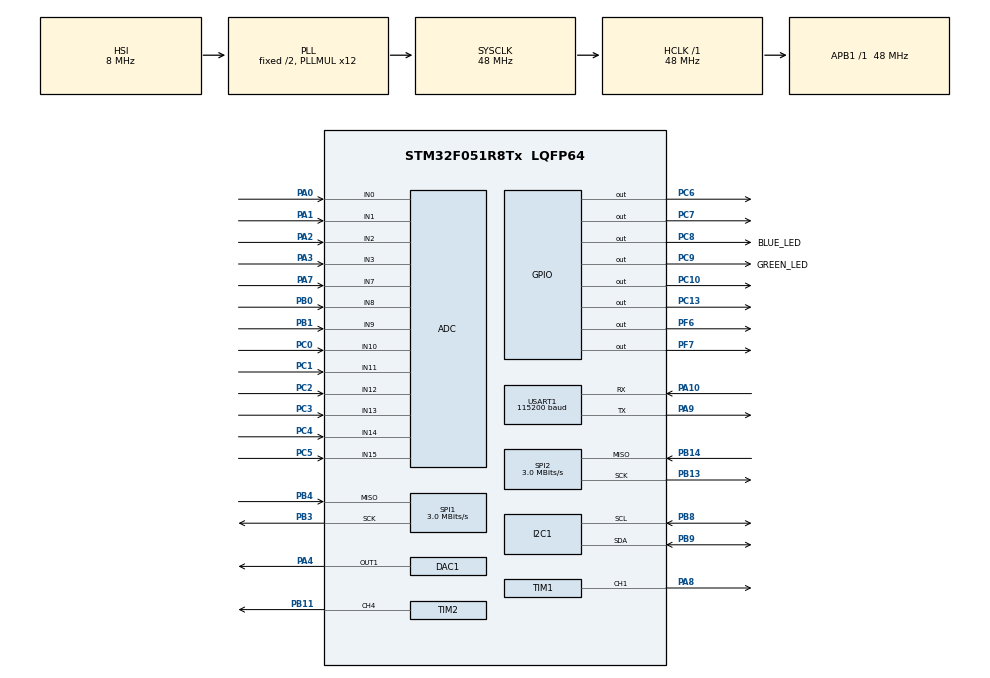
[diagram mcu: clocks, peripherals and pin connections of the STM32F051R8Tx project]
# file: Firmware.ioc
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DAC1.DAC_OutputBuffer=DAC_OUTPUTBUFFER_ENABLE
Dma.ADC.0.Direction=DMA_PERIPH_TO_MEMORY
Dma.ADC.0.Instance=DMA1_Channel1
Dma.ADC.0.MemDataAlignment=DMA_MDATAALIGN_HALFWORD
Dma.ADC.0.MemInc=DMA_MINC_ENABLE
Dma.ADC.0.Mode=DMA_NORMAL
Dma.ADC.0.PeriphDataAlignment=DMA_PDATAALIGN_HALFWORD
Dma.ADC.0.PeriphInc=DMA_PINC_DISABLE
Dma.ADC.0.Priority=DMA_PRIORITY_LOW
Dma.Request0=ADC
Mcu.Family=STM32F0
Mcu.Name=STM32F051R8Tx
Mcu.Package=LQFP64
NVIC.DMA1_Channel1_IRQn=true\:0\:0\:false\:false\:true\:false\:true\:true
NVIC.TIM1_BRK_UP_TRG_COM_IRQn=true\:1\:0\:true\:false\:true\:true\:true\:true
NVIC.TIM1_CC_IRQn=true\:1\:0\:true\:false\:true\:true\:true\:true
NVIC.TIM2_IRQn=true\:1\:0\:true\:false\:true\:true\:true\:true
NVIC.USART1_IRQn=true\:0\:0\:true\:false\:true\:true\:true\:true
PA0.Mode=IN0
PA0.Signal=ADC_IN0
PA1.Mode=IN1
PA1.Signal=ADC_IN1
PA10.Mode=Asynchronous
PA10.Signal=USART1_RX
PA13.Mode=Serial_Wire
PA13.Signal=SYS_SWDIO
PA14.Mode=Serial_Wire
PA14.Signal=SYS_SWCLK
PA2.Mode=IN2
PA2.Signal=ADC_IN2
PA3.Mode=IN3
PA3.Signal=ADC_IN3
PA4.Signal=COMP_DAC11_group
PA7.Mode=IN7
PA7.Signal=ADC_IN7
PA8.Signal=S_TIM1_CH1
PA9.Mode=Asynchronous
PA9.Signal=USART1_TX
PB0.Mode=IN8
PB0.Signal=ADC_IN8
PB1.Mode=IN9
PB1.Signal=ADC_IN9
PB11.Signal=S_TIM2_CH4
PB13.Mode=RX_Only_Simplex_Unidirect_Master
PB13.Signal=SPI2_SCK
PB14.Mode=RX_Only_Simplex_Unidirect_Master
PB14.Signal=SPI2_MISO
PB3.Mode=RX_Only_Simplex_Unidirect_Master
PB3.Signal=SPI1_SCK
PB4.Mode=RX_Only_Simplex_Unidirect_Master
PB4.Signal=SPI1_MISO
PB8.Mode=I2C
PB8.Signal=I2C1_SCL
PB9.Mode=I2C
PB9.Signal=I2C1_SDA
PC0.Mode=IN10
PC0.Signal=ADC_IN10
PC1.Mode=IN11
PC1.Signal=ADC_IN11
PC10.Signal=GPIO_Output
PC13.Signal=GPIO_Output
PC14-OSC32_IN.Mode=LSE-External-Oscillator
PC14-OSC32_IN.Signal=RCC_OSC32_IN
PC15-OSC32_OUT.Mode=LSE-External-Oscillator
PC15-OSC32_OUT.Signal=RCC_OSC32_OUT
PC2.Mode=IN12
PC2.Signal=ADC_IN12
PC3.Mode=IN13
PC3.Signal=ADC_IN13
PC4.Mode=IN14
PC4.Signal=ADC_IN14
PC5.Mode=IN15
PC5.Signal=ADC_IN15
PC6.Signal=GPIO_Output
PC7.Signal=GPIO_Output
PC8.GPIO_Label=BLUE_LED
PC8.Signal=GPIO_Output
PC9.GPIO_Label=GREEN_LED
PC9.Signal=GPIO_Output
PF0-OSC_IN.Mode=HSE-External-Oscillator
PF0-OSC_IN.Signal=RCC_OSC_IN
PF1-OSC_OUT.Mode=HSE-External-Oscillator
PF1-OSC_OUT.Signal=RCC_OSC_OUT
PF6.Signal=GPIO_Output
PF7.Signal=GPIO_Output
ProjectManager.HeapSize=0x200
ProjectManager.StackSize=0x400
ProjectManager.TargetToolchain=STM32CubeIDE
RCC.AHBFreq_Value=48000000
RCC.APB1Freq_Value=48000000
RCC.APB1TimFreq_Value=48000000
RCC.HCLKFreq_Value=48000000
RCC.PLLMUL=RCC_PLL_MUL12
RCC.SYSCLKFreq_VALUE=48000000
RCC.SYSCLKSource=RCC_SYSCLKSOURCE_PLLCLK
RCC.Usart1ClockSelection=RCC_USART1CLKSOURCE_HSI
SH.COMP_DAC11_group.0=DAC1_OUT1,DAC_OUT1
SH.S_TIM1_CH1.0=TIM1_CH1,Output Compare1 CH1
SH.S_TIM2_CH4.0=TIM2_CH4,Output Compare4 CH4
SPI1.BaudRatePrescaler=SPI_BAUDRATEPRESCALER_16
SPI1.CalculateBaudRate=3.0 MBits/s
SPI1.DataSize=SPI_DATASIZE_16BIT
SPI1.Direction=SPI_DIRECTION_2LINES_RXONLY
SPI1.Mode=SPI_MODE_MASTER
SPI1.VirtualType=VM_MASTER
SPI2.BaudRatePrescaler=SPI_BAUDRATEPRESCALER_16
SPI2.CalculateBaudRate=3.0 MBits/s
SPI2.DataSize=SPI_DATASIZE_16BIT
SPI2.Direction=SPI_DIRECTION_2LINES_RXONLY
SPI2.Mode=SPI_MODE_MASTER
SPI2.VirtualType=VM_MASTER
TIM1.AutoReloadPreload=TIM_AUTORELOAD_PRELOAD_ENABLE
TIM1.Channel-Output\ Compare1\ CH1=TIM_CHANNEL_1
TIM1.OCMode_1=TIM_OCMODE_TOGGLE
TIM1.Period=24000
TIM1.Prescaler=100 - 1
TIM1.Pulse-Output\ Compare1\ CH1=12000 - 1
TIM2.AutoReloadPreload=TIM_AUTORELOAD_PRELOAD_ENABLE
TIM2.Channel-Output\ Compare4\ CH4=TIM_CHANNEL_4
TIM2.OCMode_4=TIM_OCMODE_TOGGLE
TIM2.Period=30000 - 1
TIM2.Prescaler=100 - 1
TIM2.Pulse-Output\ Compare4\ CH4=6000 - 1
USART1.BaudRate=115200
USART1.VirtualMode-Asynchronous=VM_ASYNC
VP_TIM1_VS_ClockSourceINT.Mode=Internal
VP_TIM2_VS_ClockSourceINT.Mode=Internal
board=custom

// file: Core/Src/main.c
/* USER CODE BEGIN Header */
/**
  ******************************************************************************
  * @file           : main.c
  * @brief          : Main program body
  ******************************************************************************
  * @attention
  *
  * Copyright (c) 2022 STMicroelectronics.
  * All rights reserved.
  *
  * This software is licensed under terms that can be found in the LICENSE file
  * in the root directory of this software component.
  * If no LICENSE file comes with this software, it is provided AS-IS.
  *
  ******************************************************************************
  */
/* USER CODE END Header */
#include "main.h"

/* USER CODE BEGIN Includes */
#include "stdio.h"

/* USER CODE END Includes */

ADC_HandleTypeDef hadc;
DMA_HandleTypeDef hdma_adc;

DAC_HandleTypeDef hdac1;

I2C_HandleTypeDef hi2c1;

SPI_HandleTypeDef hspi1;
SPI_HandleTypeDef hspi2;

TIM_HandleTypeDef htim1;
TIM_HandleTypeDef htim2;

UART_HandleTypeDef huart1;

/* USER CODE BEGIN PV */
UART_WakeUpTypeDef WakeUpSelection;
uint8_t Rx_data[1];  //  creating a buffer of 1 bytes

static const uint8_t ADT7410_1 = 0x48 << 1; // Use 8-bit address
static const uint8_t ADT7410_2 = 0x49 << 1;
static const uint8_t REG_TEMP = 0x00;
/* USER CODE END PV */

void SystemClock_Config(void);
static void MX_GPIO_Init(void);
static void MX_DMA_Init(void);
static void MX_SPI2_Init(void);
static void MX_TIM1_Init(void);
static void MX_TIM2_Init(void);
static void MX_SPI1_Init(void);
static void MX_USART1_UART_Init(void);
static void MX_DAC1_Init(void);
static void MX_ADC_Init(void);
static void MX_I2C1_Init(void);

/* USER CODE BEGIN 0 */

/* TS_CAL1 & TS_CAL2 */
//#define TS_CAL1 *((uint16_t*) 0x1FFFF7B8)
//#define TS_CAL2 *((uint16_t*) 0x1FFFF7C2)

/* ADC DMA */
volatile uint16_t adcResultsDMA[16];
const int adcChannelCount = sizeof(adcResultsDMA) / sizeof(adcResultsDMA[0]);

/* DAC Variables */
uint32_t DAC_OUT[] = {0, 683, 1365, 2048, 2730, 3413};
uint8_t step;
int up = 1;

/* SPI Variables */
int raw;
const int WRITE = 0x1;

/* Erpa Data Struct */
typedef struct ErpaData {
	uint8_t sync;
	int spiData;
	uint32_t swpComm;
	uint32_t swpMon;
	uint16_t endMon;
	uint16_t tmp1;
	uint16_t tmp2;
} erpaData;

/* UART Variables */
uint8_t *erpa_buf;
const uint8_t erpa_sync = 0xAA;
uint16_t erpa_seq = 0;
uint8_t pmt_buf[6];
const uint8_t pmt_sync = 0xBB;
uint16_t pmt_seq = 0;
uint8_t hk_buf[26];
const uint8_t hk_sync = 0xCC;
uint16_t hk_seq = 0;
int hk_counter = 0;

int startupTimer = 0;

uint8_t *fillErpaBuffer(erpaData data) {

	uint8_t *erpa_ret = malloc(16 * sizeof(uint8_t));

	erpa_ret[0] = data.sync; // ERPA SYNC 0xAA MSB
	erpa_ret[1] = data.sync; // ERPA SYNC 0xAA LSB
	erpa_ret[2] = ((erpa_seq & 0xFF00) >> 8); // ERPA SEQ # MSB
	erpa_ret[3] = (erpa_seq & 0xFF); // ERPA SEQ # MSB
	erpa_ret[4] = ((data.spiData & 0xFF00) >> 8); // ERPA eADC MSB
	erpa_ret[5] = (data.spiData & 0xFF); // ERPA eADC LSB
	erpa_ret[6] = ((data.swpComm & 0xFF00) >> 8); //SWP Commanded MSB
	erpa_ret[7] = (data.swpComm & 0xFF); //SWP Commanded LSB
	erpa_ret[8] = ((data.swpMon & 0xFF00) >> 8); // SWP Monitored MSB
	erpa_ret[9] = (data.swpMon & 0xFF); // SWP Monitored LSB
	erpa_ret[10] = ((data.tmp1 & 0xFF00) >> 8); // TEMPURATURE 1 MSB
	erpa_ret[11] = (data.tmp1 & 0xFF); // TEMPURATURE 1 LSB
	erpa_ret[12] = ((data.tmp2 & 0xFF00) >> 8); // TEMPURATURE 2 MSB
	erpa_ret[13] = (data.tmp2 & 0xFF); // TEMPURATURE 2 LSB
	erpa_ret[14] = ((data.endMon & 0xFF00) >> 8); // ENDmon MSB
	erpa_ret[15] = (data.endMon & 0xFF); // ENDmon LSB

	erpa_seq++;

	return erpa_ret;
}

void HAL_TIM_OC_DelayElapsedCallback(TIM_HandleTypeDef *htim) {
	if (htim == &htim1) {
        if (!(HAL_GPIO_ReadPin(GPIOA, GPIO_PIN_8))) { //check pin state

            /**
             * TIM1_CH1 Interrupt
             * Sets CNV and samples ERPA's ADC
             * Steps DAC
             * +/- 0.5v Every 100ms
             */

            /* Write to SPI (begin transfer?) */
            HAL_SPI_Transmit(&hspi1, (uint8_t * ) & WRITE, 1, 1);

            while (!(SPI1->SR));

            raw = SPI1->DR;

            DAC->DHR12R1 = DAC_OUT[step];

            HAL_ADC_Start_DMA(&hadc, (uint32_t *) adcResultsDMA, adcChannelCount);
            uint16_t PA0 = adcResultsDMA[0]; //ADC_IN0, END_mon: entrance/collimator monitor
            uint16_t PA7 = adcResultsDMA[4]; //ADC_IN7, SWP_mon: Sweep voltage monitor
            uint16_t PB0 = adcResultsDMA[5]; //ADC_IN8, TMP 1: Sweep temperature
            uint16_t PB1 = adcResultsDMA[6]; //ADC_IN9, TMP 2: feedbacks

//            erpaData data;
//            data.sync = 0xAA;
//            data.spiData = raw;
//            data.swpComm = DAC->DHR12R1;
//            data.swpMon = PA7;
//            data.endMon = PA0;
//            data.tmp1 = PB0;
//            data.tmp2 = PB1;
//
//            erpa_buf = fillErpaBuffer(data);

            HAL_UART_Transmit(&huart1, erpa_buf, sizeof(erpa_buf), 100);

            if (step == 5) {
                up = 0;
            } else if (step == 0) {
                up = 1;
            }

            up == 1 ? step++ : step--;

            if (hk_counter == 50) {
                HAL_ADC_Start_DMA(&hadc, (uint32_t *) adcResultsDMA, adcChannelCount);

                uint16_t PA1 = adcResultsDMA[1]; //ADC_IN1, BUS_Vmon: instrument bus voltage monitor
                uint16_t PA2 = adcResultsDMA[2]; //ADC_IN2, BUS_Imon: instrument bus current monitor
                uint16_t PA3 = adcResultsDMA[3]; //ADC_IN3, 5vref_mon: Accurate 5V for ADC monitor
                uint16_t PC0 = adcResultsDMA[7]; //ADC_IN10, 2v5_mon: power monitor
                uint16_t PC1 = adcResultsDMA[8]; //ADC_IN11, 3v3_mon: power monitor
                uint16_t PC2 = adcResultsDMA[9]; //ADC_IN12, 5v_mon: power monitor
                uint16_t PC3 = adcResultsDMA[10]; //ADC_IN13, n3v3_mon: power monitor
                uint16_t PC4 = adcResultsDMA[11]; //ADC_IN14, n5v_mon: power monitor
                uint16_t PC5 = adcResultsDMA[12]; //ADC_IN15, 15v_mon: power monitor
                uint16_t MCU_TEMP = adcResultsDMA[13]; //(internally connected) ADC_IN16, VSENSE
                uint16_t MCU_VREF = adcResultsDMA[14]; //(internally connected) ADC_IN17, VREFINT

                hk_buf[0] = hk_sync; // HK SYNC 0xCC MSB
                hk_buf[1] = hk_sync; // HK SYNC 0xCC LSB
                hk_buf[2] = ((hk_seq & 0xFF00) >> 8); // HK SEQ # MSB
                hk_buf[3] = (hk_seq & 0xFF); // HK SEQ # LSB
                hk_buf[4] = ((PA1 & 0xFF00) >> 8); // BUS_Vmon MSB
                hk_buf[5] = (PA1 & 0xFF); // BUS_Vmon LSB
                hk_buf[6] = ((PA2 & 0xFF00) >> 8); // BUS_Imon MSB
                hk_buf[7] = (PA2 & 0xFF); // BUS_Imon LSB
                hk_buf[8] = ((PC0 & 0xFF00) >> 8); // 2.5v_mon MSB
                hk_buf[9] = (PC0 & 0xFF); // 2.5v_mon LSB
                hk_buf[10] = ((PC1 & 0xFF00) >> 8); // 3v3_mon MSB
                hk_buf[11] = (PC1 & 0xFF); // 3v3_mon LSB
                hk_buf[12] = ((PC2 & 0xFF00) >> 8); // 5v_mon MSB
                hk_buf[13] = (PC2 & 0xFF); // 5v_mon LSB
                hk_buf[14] = ((PA3 & 0xFF00) >> 8); // 5vref_mon MSB
                hk_buf[15] = (PA3 & 0xFF); // 5vref_mon LSB
                hk_buf[16] = ((PC5 & 0xFF00) >> 8); // 15v_mon MSB
                hk_buf[17] = (PC5 & 0xFF); // 15v_mon LSB
                hk_buf[18] = ((PC3 & 0xFF00) >> 8); // n3v3_mon MSB
                hk_buf[19] = (PC3 & 0xFF); // n3v3_mon LSB
                hk_buf[20] = ((PC4 & 0xFF00) >> 8); // n5v_mon MSB
                hk_buf[21] = (PC4 & 0xFF); // n5v_mon LSB
                hk_buf[22] = ((MCU_TEMP & 0xFF00) >> 8); // VSENSE MSB
                hk_buf[23] = (MCU_TEMP & 0xFF); // VSENSE LSB
                hk_buf[24] = ((MCU_VREF & 0xFF00) >> 8); // VREFINT MSB
                hk_buf[25] = (MCU_VREF & 0xFF); // VREFINT LSB

                HAL_UART_Transmit(&huart1, hk_buf, sizeof(hk_buf), 100);

                hk_counter = 1;

                hk_seq++;

            } else {
                hk_counter++;
            }

        }
    } else if (htim == &htim2) {
        if (!(HAL_GPIO_ReadPin(GPIOB, GPIO_PIN_11))) { //check pin state

            /**
             * TIM2_CH4 Interrupt
             * Sets CNV and samples UVPMT's ADC
             * Every 125ms
             */

            /* Write to SPI (begin transfer?) */
            HAL_SPI_Transmit(&hspi2, (uint8_t * ) & WRITE, 1, 1);

            while (!(SPI2->SR));

            raw = SPI2->DR;

            pmt_buf[0] = pmt_sync;
            pmt_buf[1] = pmt_sync;
            pmt_buf[2] = ((pmt_seq & 0xFF00) >> 8);
            pmt_buf[3] = (pmt_seq & 0xFF);;
            pmt_buf[4] = ((raw & 0xFF00) >> 8);
            pmt_buf[5] = (raw & 0xFF);

            pmt_seq++;

            HAL_UART_Transmit(&huart1, pmt_buf, sizeof(pmt_buf), 100);

        }
    }

    /* Timer 3 also called but doesn't need to do anything on IT */
}

void HAL_UART_RxCpltCallback(UART_HandleTypeDef *huart)
{
	char sleepChar = Rx_data;
	if (Rx_data[0] == 's') { // should be "¶" in the future
		HAL_SuspendTick();
		HAL_PWR_EnterSTOPMode(PWR_LOWPOWERREGULATOR_ON, PWR_STOPENTRY_WFI);
		NVIC_SystemReset();
	}
	HAL_UART_Receive_IT(&huart1, Rx_data, 1);
}

/* USER CODE END 0 */

int main(void)
{

  /* MCU Configuration--------------------------------------------------------*/

  /* Reset of all peripherals, Initializes the Flash interface and the Systick. */
  HAL_Init();

  /* USER CODE BEGIN Init */
  HAL_StatusTypeDef ret;
  uint8_t buf[2];
  int16_t val;
  float temp_c;

  /* USER CODE END Init */

  /* Configure the system clock */
  SystemClock_Config();

  /* Initialize all configured peripherals */
  MX_GPIO_Init();
  MX_DMA_Init();
  MX_SPI2_Init();
  MX_TIM1_Init();
  MX_TIM2_Init();
  MX_SPI1_Init();
  MX_USART1_UART_Init();
  MX_DAC1_Init();
  MX_ADC_Init();
  MX_I2C1_Init();
  /* USER CODE BEGIN 2 */

    HAL_DAC_Start(&hdac1, DAC_CHANNEL_1);

    /* Start Timers with OC & Interrupt */
    HAL_TIM_OC_Start_IT(&htim1, TIM_CHANNEL_1);
    HAL_TIM_OC_Start_IT(&htim2, TIM_CHANNEL_4);

    while (__HAL_UART_GET_FLAG(&huart1, USART_ISR_BUSY) == SET);
    while (__HAL_UART_GET_FLAG(&huart1, USART_ISR_REACK) == RESET);

    WakeUpSelection.WakeUpEvent = UART_WAKEUP_ON_ADDRESS;
    WakeUpSelection.AddressLength = UART_ADDRESS_DETECT_7B;
    WakeUpSelection.Address = 0x23; // send "£"

    if (HAL_UARTEx_StopModeWakeUpSourceConfig(&huart1, WakeUpSelection) != HAL_OK) {
        Error_Handler();
    }
    /* Enable the LPUART Wake UP from stop mode Interrupt */
    __HAL_UART_ENABLE_IT(&huart1, UART_IT_WUF);
    /* enable MCU wake-up by LPUART */
    HAL_UARTEx_EnableStopMode(&huart1);
    HAL_UART_Receive_IT(&huart1, Rx_data, 1);
  /* USER CODE END 2 */

  /* Infinite loop */
  /* USER CODE BEGIN WHILE */
    while (1) {

    	/*
    	// Tell ADT7410_1 that we want to read from the temperature register
		buf[0] = REG_TEMP;
		ret = HAL_I2C_Master_Transmit(&hi2c1, ADT7410_1, buf, 1, 1000);
		//I2C_HandleTypeDef *hi2c, uint16_t DevAddress, uint8_t *pData, uint16_t Size, uint32_t Timeout)
		if ( ret != HAL_OK ) {
		  strcpy((char*)buf, "Error Tx\r\n");
		} else {

		  // Read 2 bytes from the temperature register
		  ret = HAL_I2C_Master_Receive(&hi2c1, ADT7410_1, buf, 2, 1000);
		  if ( ret != HAL_OK ) {
			strcpy((char*)buf, "Error Rx\r\n");
		  } else {

			val = (int16_t)(buf[0] << 8);
			val = (val | buf[1]) >> 3;

			// Convert to 2's complement, since temperature can be negative
			if ( val > 0x7FF ) {
			  val |= 0xF000;
			}

			// Convert to float temperature value (Celsius)
			temp_c = val * 0.0625;

			// Convert temperature to decimal value
			temp_c *= 100;

			sprintf((char*)buf,
						  "ADT7410_1: %u.%u C\r\n",
						  ((unsigned int)temp_c / 100),
						  ((unsigned int)temp_c % 100));
		  }
	   }

		HAL_UART_Transmit(&huart1, buf, strlen((char*)buf), HAL_MAX_DELAY);

		// Tell ADT7410_2 that we want to read from the temperature register
		buf[0] = REG_TEMP;
		ret = HAL_I2C_Master_Transmit(&hi2c1, ADT7410_2, buf, 1, 1000);
		//I2C_HandleTypeDef *hi2c, uint16_t DevAddress, uint8_t *pData, uint16_t Size, uint32_t Timeout)
		if ( ret != HAL_OK ) {
		  strcpy((char*)buf, "Error Tx\r\n");
		} else {

		  // Read 2 bytes from the temperature register
		  ret = HAL_I2C_Master_Receive(&hi2c1, ADT7410_2, buf, 2, 1000);
		  if ( ret != HAL_OK ) {
			strcpy((char*)buf, "Error Rx\r\n");
		  } else {

			val = (int16_t)(buf[0] << 8);
			val = (val | buf[1]) >> 3;

			// Convert to 2's complement, since temperature can be negative
			if ( val > 0x7FF ) {
			  val |= 0xF000;
			}

			// Convert to float temperature value (Celsius)
			temp_c = val * 0.0625;

			// Convert temperature to decimal value
			temp_c *= 100;

			sprintf((char*)buf,
						  "ADT7410 2: %u.%u C\r\n",
						  ((unsigned int)temp_c / 100),
						  ((unsigned int)temp_c % 100));
		  }
	   }

	HAL_UART_Transmit(&huart1, buf, strlen((char*)buf), HAL_MAX_DELAY);
	*/

    /* USER CODE END WHILE */

    }
}

void SystemClock_Config(void)
{
  RCC_OscInitTypeDef RCC_OscInitStruct = {0};
  RCC_ClkInitTypeDef RCC_ClkInitStruct = {0};
  RCC_PeriphCLKInitTypeDef PeriphClkInit = {0};

  /** Initializes the RCC Oscillators according to the specified parameters
  * in the RCC_OscInitTypeDef structure.
  */
  RCC_OscInitStruct.OscillatorType = RCC_OSCILLATORTYPE_HSI|RCC_OSCILLATORTYPE_HSI14;
  RCC_OscInitStruct.HSIState = RCC_HSI_ON;
  RCC_OscInitStruct.HSI14State = RCC_HSI14_ON;
  RCC_OscInitStruct.HSICalibrationValue = RCC_HSICALIBRATION_DEFAULT;
  RCC_OscInitStruct.HSI14CalibrationValue = 16;
  RCC_OscInitStruct.PLL.PLLState = RCC_PLL_ON;
  RCC_OscInitStruct.PLL.PLLSource = RCC_PLLSOURCE_HSI;
  RCC_OscInitStruct.PLL.PLLMUL = RCC_PLL_MUL12;
  RCC_OscInitStruct.PLL.PREDIV = RCC_PREDIV_DIV1;
  if (HAL_RCC_OscConfig(&RCC_OscInitStruct) != HAL_OK)
  {
    Error_Handler();
  }

  /** Initializes the CPU, AHB and APB buses clocks
  */
  RCC_ClkInitStruct.ClockType = RCC_CLOCKTYPE_HCLK|RCC_CLOCKTYPE_SYSCLK
                              |RCC_CLOCKTYPE_PCLK1;
  RCC_ClkInitStruct.SYSCLKSource = RCC_SYSCLKSOURCE_PLLCLK;
  RCC_ClkInitStruct.AHBCLKDivider = RCC_SYSCLK_DIV1;
  RCC_ClkInitStruct.APB1CLKDivider = RCC_HCLK_DIV1;

  if (HAL_RCC_ClockConfig(&RCC_ClkInitStruct, FLASH_LATENCY_1) != HAL_OK)
  {
    Error_Handler();
  }
  PeriphClkInit.PeriphClockSelection = RCC_PERIPHCLK_USART1|RCC_PERIPHCLK_I2C1;
  PeriphClkInit.Usart1ClockSelection = RCC_USART1CLKSOURCE_HSI;
  PeriphClkInit.I2c1ClockSelection = RCC_I2C1CLKSOURCE_HSI;
  if (HAL_RCCEx_PeriphCLKConfig(&PeriphClkInit) != HAL_OK)
  {
    Error_Handler();
  }
}

static void MX_ADC_Init(void)
{

  ADC_ChannelConfTypeDef sConfig = {0};

  /** Configure the global features of the ADC (Clock, Resolution, Data Alignment and number of conversion)
  */
  hadc.Instance = ADC1;
  hadc.Init.ClockPrescaler = ADC_CLOCK_ASYNC_DIV1;
  hadc.Init.Resolution = ADC_RESOLUTION_12B;
  hadc.Init.DataAlign = ADC_DATAALIGN_RIGHT;
  hadc.Init.ScanConvMode = ADC_SCAN_DIRECTION_FORWARD;
  hadc.Init.EOCSelection = ADC_EOC_SINGLE_CONV;
  hadc.Init.LowPowerAutoWait = DISABLE;
  hadc.Init.LowPowerAutoPowerOff = DISABLE;
  hadc.Init.ContinuousConvMode = DISABLE;
  hadc.Init.DiscontinuousConvMode = DISABLE;
  hadc.Init.ExternalTrigConv = ADC_SOFTWARE_START;
  hadc.Init.ExternalTrigConvEdge = ADC_EXTERNALTRIGCONVEDGE_NONE;
  hadc.Init.DMAContinuousRequests = DISABLE;
  hadc.Init.Overrun = ADC_OVR_DATA_PRESERVED;
  if (HAL_ADC_Init(&hadc) != HAL_OK)
  {
    Error_Handler();
  }

  /** Configure for the selected ADC regular channel to be converted.
  */
  sConfig.Channel = ADC_CHANNEL_0;
  sConfig.Rank = ADC_RANK_CHANNEL_NUMBER;
  sConfig.SamplingTime = ADC_SAMPLETIME_1CYCLE_5;
  if (HAL_ADC_ConfigChannel(&hadc, &sConfig) != HAL_OK)
  {
    Error_Handler();
  }

  /** Configure for the selected ADC regular channel to be converted.
  */
  sConfig.Channel = ADC_CHANNEL_1;
  if (HAL_ADC_ConfigChannel(&hadc, &sConfig) != HAL_OK)
  {
    Error_Handler();
  }

  /** Configure for the selected ADC regular channel to be converted.
  */
  sConfig.Channel = ADC_CHANNEL_2;
  if (HAL_ADC_ConfigChannel(&hadc, &sConfig) != HAL_OK)
  {
    Error_Handler();
  }

  /** Configure for the selected ADC regular channel to be converted.
  */
  sConfig.Channel = ADC_CHANNEL_3;
  if (HAL_ADC_ConfigChannel(&hadc, &sConfig) != HAL_OK)
  {
    Error_Handler();
  }

  /** Configure for the selected ADC regular channel to be converted.
  */
  sConfig.Channel = ADC_CHANNEL_7;
  if (HAL_ADC_ConfigChannel(&hadc, &sConfig) != HAL_OK)
  {
    Error_Handler();
  }

  /** Configure for the selected ADC regular channel to be converted.
  */
  sConfig.Channel = ADC_CHANNEL_8;
  if (HAL_ADC_ConfigChannel(&hadc, &sConfig) != HAL_OK)
  {
    Error_Handler();
  }

  /** Configure for the selected ADC regular channel to be converted.
  */
  sConfig.Channel = ADC_CHANNEL_9;
  if (HAL_ADC_ConfigChannel(&hadc, &sConfig) != HAL_OK)
  {
    Error_Handler();
  }

  /** Configure for the selected ADC regular channel to be converted.
  */
  sConfig.Channel = ADC_CHANNEL_10;
  if (HAL_ADC_ConfigChannel(&hadc, &sConfig) != HAL_OK)
  {
    Error_Handler();
  }

  /** Configure for the selected ADC regular channel to be converted.
  */
  sConfig.Channel = ADC_CHANNEL_11;
  if (HAL_ADC_ConfigChannel(&hadc, &sConfig) != HAL_OK)
  {
    Error_Handler();
  }

  /** Configure for the selected ADC regular channel to be converted.
  */
  sConfig.Channel = ADC_CHANNEL_12;
  if (HAL_ADC_ConfigChannel(&hadc, &sConfig) != HAL_OK)
  {
    Error_Handler();
  }

  /** Configure for the selected ADC regular channel to be converted.
  */
  sConfig.Channel = ADC_CHANNEL_13;
  if (HAL_ADC_ConfigChannel(&hadc, &sConfig) != HAL_OK)
  {
    Error_Handler();
  }

  /** Configure for the selected ADC regular channel to be converted.
  */
  sConfig.Channel = ADC_CHANNEL_14;
  if (HAL_ADC_ConfigChannel(&hadc, &sConfig) != HAL_OK)
  {
    Error_Handler();
  }

  /** Configure for the selected ADC regular channel to be converted.
  */
  sConfig.Channel = ADC_CHANNEL_15;
  if (HAL_ADC_ConfigChannel(&hadc, &sConfig) != HAL_OK)
  {
    Error_Handler();
  }

}

static void MX_DAC1_Init(void)
{

  /* USER CODE BEGIN DAC1_Init 0 */
    step = 0;
  /* USER CODE END DAC1_Init 0 */

  DAC_ChannelConfTypeDef sConfig = {0};

  /** DAC Initialization
  */
  hdac1.Instance = DAC;
  if (HAL_DAC_Init(&hdac1) != HAL_OK)
  {
    Error_Handler();
  }

  /** DAC channel OUT1 config
  */
  sConfig.DAC_Trigger = DAC_TRIGGER_NONE;
  sConfig.DAC_OutputBuffer = DAC_OUTPUTBUFFER_ENABLE;
  if (HAL_DAC_ConfigChannel(&hdac1, &sConfig, DAC_CHANNEL_1) != HAL_OK)
  {
    Error_Handler();
  }

}

static void MX_I2C1_Init(void)
{

  hi2c1.Instance = I2C1;
  hi2c1.Init.Timing = 0x2000090E;
  hi2c1.Init.OwnAddress1 = 0;
  hi2c1.Init.AddressingMode = I2C_ADDRESSINGMODE_7BIT;
  hi2c1.Init.DualAddressMode = I2C_DUALADDRESS_DISABLE;
  hi2c1.Init.OwnAddress2 = 0;
  hi2c1.Init.OwnAddress2Masks = I2C_OA2_NOMASK;
  hi2c1.Init.GeneralCallMode = I2C_GENERALCALL_DISABLE;
  hi2c1.Init.NoStretchMode = I2C_NOSTRETCH_DISABLE;
  if (HAL_I2C_Init(&hi2c1) != HAL_OK)
  {
    Error_Handler();
  }

  /** Configure Analogue filter
  */
  if (HAL_I2CEx_ConfigAnalogFilter(&hi2c1, I2C_ANALOGFILTER_ENABLE) != HAL_OK)
  {
    Error_Handler();
  }

  /** Configure Digital filter
  */
  if (HAL_I2CEx_ConfigDigitalFilter(&hi2c1, 0) != HAL_OK)
  {
    Error_Handler();
  }

}

static void MX_SPI1_Init(void)
{

  /* SPI1 parameter configuration*/
  hspi1.Instance = SPI1;
  hspi1.Init.Mode = SPI_MODE_MASTER;
  hspi1.Init.Direction = SPI_DIRECTION_2LINES_RXONLY;
  hspi1.Init.DataSize = SPI_DATASIZE_16BIT;
  hspi1.Init.CLKPolarity = SPI_POLARITY_LOW;
  hspi1.Init.CLKPhase = SPI_PHASE_1EDGE;
  hspi1.Init.NSS = SPI_NSS_SOFT;
  hspi1.Init.BaudRatePrescaler = SPI_BAUDRATEPRESCALER_16;
  hspi1.Init.FirstBit = SPI_FIRSTBIT_MSB;
  hspi1.Init.TIMode = SPI_TIMODE_DISABLE;
  hspi1.Init.CRCCalculation = SPI_CRCCALCULATION_DISABLE;
  hspi1.Init.CRCPolynomial = 7;
  hspi1.Init.CRCLength = SPI_CRC_LENGTH_DATASIZE;
  hspi1.Init.NSSPMode = SPI_NSS_PULSE_ENABLE;
  if (HAL_SPI_Init(&hspi1) != HAL_OK)
  {
    Error_Handler();
  }

}

static void MX_SPI2_Init(void)
{

  /* SPI2 parameter configuration*/
  hspi2.Instance = SPI2;
  hspi2.Init.Mode = SPI_MODE_MASTER;
  hspi2.Init.Direction = SPI_DIRECTION_2LINES_RXONLY;
  hspi2.Init.DataSize = SPI_DATASIZE_16BIT;
  hspi2.Init.CLKPolarity = SPI_POLARITY_LOW;
  hspi2.Init.CLKPhase = SPI_PHASE_1EDGE;
  hspi2.Init.NSS = SPI_NSS_SOFT;
  hspi2.Init.BaudRatePrescaler = SPI_BAUDRATEPRESCALER_16;
  hspi2.Init.FirstBit = SPI_FIRSTBIT_MSB;
  hspi2.Init.TIMode = SPI_TIMODE_DISABLE;
  hspi2.Init.CRCCalculation = SPI_CRCCALCULATION_DISABLE;
  hspi2.Init.CRCPolynomial = 7;
  hspi2.Init.CRCLength = SPI_CRC_LENGTH_DATASIZE;
  hspi2.Init.NSSPMode = SPI_NSS_PULSE_ENABLE;
  if (HAL_SPI_Init(&hspi2) != HAL_OK)
  {
    Error_Handler();
  }

}

static void MX_TIM1_Init(void)
{

  TIM_ClockConfigTypeDef sClockSourceConfig = {0};
  TIM_MasterConfigTypeDef sMasterConfig = {0};
  TIM_OC_InitTypeDef sConfigOC = {0};
  TIM_BreakDeadTimeConfigTypeDef sBreakDeadTimeConfig = {0};

  htim1.Instance = TIM1;
  htim1.Init.Prescaler = 100 - 1;
  htim1.Init.CounterMode = TIM_COUNTERMODE_UP;
  htim1.Init.Period = 24000;
  htim1.Init.ClockDivision = TIM_CLOCKDIVISION_DIV1;
  htim1.Init.RepetitionCounter = 0;
  htim1.Init.AutoReloadPreload = TIM_AUTORELOAD_PRELOAD_ENABLE;
  if (HAL_TIM_Base_Init(&htim1) != HAL_OK)
  {
    Error_Handler();
  }
  sClockSourceConfig.ClockSource = TIM_CLOCKSOURCE_INTERNAL;
  if (HAL_TIM_ConfigClockSource(&htim1, &sClockSourceConfig) != HAL_OK)
  {
    Error_Handler();
  }
  if (HAL_TIM_OC_Init(&htim1) != HAL_OK)
  {
    Error_Handler();
  }
  sMasterConfig.MasterOutputTrigger = TIM_TRGO_RESET;
  sMasterConfig.MasterSlaveMode = TIM_MASTERSLAVEMODE_DISABLE;
  if (HAL_TIMEx_MasterConfigSynchronization(&htim1, &sMasterConfig) != HAL_OK)
  {
    Error_Handler();
  }
  sConfigOC.OCMode = TIM_OCMODE_TOGGLE;
  sConfigOC.Pulse = 12000 - 1;
  sConfigOC.OCPolarity = TIM_OCPOLARITY_HIGH;
  sConfigOC.OCNPolarity = TIM_OCNPOLARITY_HIGH;
  sConfigOC.OCFastMode = TIM_OCFAST_DISABLE;
  sConfigOC.OCIdleState = TIM_OCIDLESTATE_RESET;
  sConfigOC.OCNIdleState = TIM_OCNIDLESTATE_RESET;
  if (HAL_TIM_OC_ConfigChannel(&htim1, &sConfigOC, TIM_CHANNEL_1) != HAL_OK)
  {
    Error_Handler();
  }
  sBreakDeadTimeConfig.OffStateRunMode = TIM_OSSR_DISABLE;
  sBreakDeadTimeConfig.OffStateIDLEMode = TIM_OSSI_DISABLE;
  sBreakDeadTimeConfig.LockLevel = TIM_LOCKLEVEL_OFF;
  sBreakDeadTimeConfig.DeadTime = 0;
  sBreakDeadTimeConfig.BreakState = TIM_BREAK_DISABLE;
  sBreakDeadTimeConfig.BreakPolarity = TIM_BREAKPOLARITY_HIGH;
  sBreakDeadTimeConfig.AutomaticOutput = TIM_AUTOMATICOUTPUT_DISABLE;
  if (HAL_TIMEx_ConfigBreakDeadTime(&htim1, &sBreakDeadTimeConfig) != HAL_OK)
  {
    Error_Handler();
  }
  HAL_TIM_MspPostInit(&htim1);

}

static void MX_TIM2_Init(void)
{

  TIM_ClockConfigTypeDef sClockSourceConfig = {0};
  TIM_MasterConfigTypeDef sMasterConfig = {0};
  TIM_OC_InitTypeDef sConfigOC = {0};

  htim2.Instance = TIM2;
  htim2.Init.Prescaler = 100 - 1;
  htim2.Init.CounterMode = TIM_COUNTERMODE_UP;
  htim2.Init.Period = 30000 - 1;
  htim2.Init.ClockDivision = TIM_CLOCKDIVISION_DIV1;
  htim2.Init.AutoReloadPreload = TIM_AUTORELOAD_PRELOAD_ENABLE;
  if (HAL_TIM_Base_Init(&htim2) != HAL_OK)
  {
    Error_Handler();
  }
  sClockSourceConfig.ClockSource = TIM_CLOCKSOURCE_INTERNAL;
  if (HAL_TIM_ConfigClockSource(&htim2, &sClockSourceConfig) != HAL_OK)
  {
    Error_Handler();
  }
  if (HAL_TIM_OC_Init(&htim2) != HAL_OK)
  {
    Error_Handler();
  }
  sMasterConfig.MasterOutputTrigger = TIM_TRGO_RESET;
  sMasterConfig.MasterSlaveMode = TIM_MASTERSLAVEMODE_DISABLE;
  if (HAL_TIMEx_MasterConfigSynchronization(&htim2, &sMasterConfig) != HAL_OK)
  {
    Error_Handler();
  }
  sConfigOC.OCMode = TIM_OCMODE_TOGGLE;
  sConfigOC.Pulse = 6000 - 1;
  sConfigOC.OCPolarity = TIM_OCPOLARITY_HIGH;
  sConfigOC.OCFastMode = TIM_OCFAST_DISABLE;
  if (HAL_TIM_OC_ConfigChannel(&htim2, &sConfigOC, TIM_CHANNEL_4) != HAL_OK)
  {
    Error_Handler();
  }
  HAL_TIM_MspPostInit(&htim2);

}

static void MX_USART1_UART_Init(void)
{

  /* USER CODE BEGIN USART1_Init 0 */
    erpa_seq = 0;
    pmt_seq = 0;
    hk_seq = 0;
  /* USER CODE END USART1_Init 0 */

  huart1.Instance = USART1;
  huart1.Init.BaudRate = 115200;
  huart1.Init.WordLength = UART_WORDLENGTH_8B;
  huart1.Init.StopBits = UART_STOPBITS_1;
  huart1.Init.Parity = UART_PARITY_NONE;
  huart1.Init.Mode = UART_MODE_TX_RX;
  huart1.Init.HwFlowCtl = UART_HWCONTROL_NONE;
  huart1.Init.OverSampling = UART_OVERSAMPLING_16;
  huart1.Init.OneBitSampling = UART_ONE_BIT_SAMPLE_DISABLE;
  huart1.AdvancedInit.AdvFeatureInit = UART_ADVFEATURE_NO_INIT;
  if (HAL_UART_Init(&huart1) != HAL_OK)
  {
    Error_Handler();
  }

}

static void MX_DMA_Init(void)
{

  /* DMA controller clock enable */
  __HAL_RCC_DMA1_CLK_ENABLE();

  /* DMA interrupt init */
  /* DMA1_Channel1_IRQn interrupt configuration */
  HAL_NVIC_SetPriority(DMA1_Channel1_IRQn, 0, 0);
  HAL_NVIC_EnableIRQ(DMA1_Channel1_IRQn);

}

static void MX_GPIO_Init(void)
{
  GPIO_InitTypeDef GPIO_InitStruct = {0};

  /* GPIO Ports Clock Enable */
  __HAL_RCC_GPIOC_CLK_ENABLE();
  __HAL_RCC_GPIOF_CLK_ENABLE();
  __HAL_RCC_GPIOA_CLK_ENABLE();
  __HAL_RCC_GPIOB_CLK_ENABLE();

  /*Configure GPIO pin Output Level */
  HAL_GPIO_WritePin(GPIOC, GPIO_PIN_13|GPIO_PIN_6|GPIO_PIN_7|BLUE_LED_Pin
                          |GREEN_LED_Pin|GPIO_PIN_10, GPIO_PIN_RESET);

  /*Configure GPIO pin Output Level */
  HAL_GPIO_WritePin(GPIOF, GPIO_PIN_6|GPIO_PIN_7, GPIO_PIN_RESET);

  /*Configure GPIO pins : PC13 PC6 PC7 BLUE_LED_Pin
                           GREEN_LED_Pin PC10 */
  GPIO_InitStruct.Pin = GPIO_PIN_13|GPIO_PIN_6|GPIO_PIN_7|BLUE_LED_Pin
                          |GREEN_LED_Pin|GPIO_PIN_10;
  GPIO_InitStruct.Mode = GPIO_MODE_OUTPUT_PP;
  GPIO_InitStruct.Pull = GPIO_NOPULL;
  GPIO_InitStruct.Speed = GPIO_SPEED_FREQ_LOW;
  HAL_GPIO_Init(GPIOC, &GPIO_InitStruct);

  /*Configure GPIO pins : PF6 PF7 */
  GPIO_InitStruct.Pin = GPIO_PIN_6|GPIO_PIN_7;
  GPIO_InitStruct.Mode = GPIO_MODE_OUTPUT_PP;
  GPIO_InitStruct.Pull = GPIO_NOPULL;
  GPIO_InitStruct.Speed = GPIO_SPEED_FREQ_LOW;
  HAL_GPIO_Init(GPIOF, &GPIO_InitStruct);

}

void Error_Handler(void)
{
    __disable_irq();
    while (1) {
    }
}
